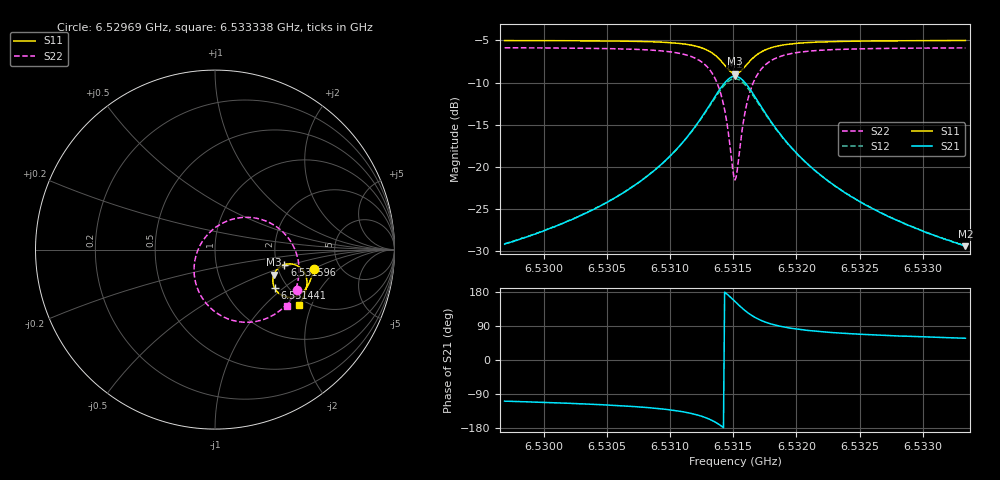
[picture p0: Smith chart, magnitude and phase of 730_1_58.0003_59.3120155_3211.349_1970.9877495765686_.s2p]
#  HZ  S  RI  R  50.00
! Rohde & Schwarz Vector Network Analyzer
! Rohde-Schwarz,ZNB20-2Port,1311601062101988,3.16
! Created: UTC 3/21/2024, 1:23:02 AM
! freq[Hz]  re:S11  im:S11  re:S21  im:S21  re:S12  im:S12  re:S22  im:S22
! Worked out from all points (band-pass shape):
!   401 points, 6.52969 GHz to 6.533338 GHz, reference 50 ohm
!   highest |S21| = -9.26 dB at 6.531514 GHz (marker M1); lowest = -29.4 dB at 6.533338 GHz (marker M2)
!   |S21| within 3 dB of the highest: 6.531331 GHz to 6.531696 GHz (365.6 kHz wide, 0.0056 % of centre)
!   lowest |S11| = -9.0 dB at 6.531514 GHz (marker M3), VSWR 2.11, Z = 92.7 - j29.6 ohm
!   |S11| at or under -10 dB: nowhere
!   |S22| runs from -21.5 to -5.9 dB; largest |S21 - S12| = 0.015
!   S11 on the Smith chart (normalised r, x): 6.52969 GHz: 3.21, -0.99; 6.531441 GHz: 1.72, -0.87; 6.531596 GHz: 2.20, -0.44; 6.533338 GHz: 1.82, -1.64
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6.5296903e9  0.55 -0.1059  -0.0111 -0.0331  -0.0119 -0.0329  0.4559 -0.2243
6.5303012e9  0.5359 -0.1579  -0.0225 -0.0468  -0.0237 -0.0463  0.4187 -0.2821
6.5306477e9  0.522 -0.1914  -0.0374 -0.0612  -0.0392 -0.0602  0.3802 -0.3244
6.5309122e9  0.5027 -0.2216  -0.0624 -0.079  -0.0647 -0.0771  0.3242 -0.3653
6.5311219e9  0.4717 -0.2498  -0.1083 -0.098  -0.1115 -0.094  0.2324 -0.3995
6.531286e9  0.4179 -0.2659  -0.1922 -0.099  -0.1941 -0.0903  0.081 -0.3892
6.5313772e9  0.3669 -0.2519  -0.2702 -0.0581  -0.2672 -0.0461  -0.0451 -0.3042
6.5314137e9  0.345 -0.2333  -0.3018 -0.0202  -0.2954 -0.00808  -0.0902 -0.2344
6.5314411e9  0.3316 -0.213  -0.3198 0.0188  -0.3103 0.0296  -0.1118 -0.1661
6.5314958e9  0.3232 -0.1586  -0.3228 0.116  -0.309 0.1212  -0.0971 -0.00661
6.531514e9  0.3281 -0.1396  -0.3107 0.1488  -0.2969 0.1516  -0.0711 0.0443
6.5315323e9  0.3368 -0.1222  -0.2925 0.1787  -0.279 0.179  -0.0361 0.0894
6.5315687e9  0.3631 -0.0952  -0.2429 0.2234  -0.2318 0.2201  0.053 0.1531
6.5315961e9  0.3865 -0.0838  -0.2007 0.2417  -0.1921 0.2372  0.1256 0.1756
6.5316326e9  0.417 -0.0794  -0.1473 0.2486  -0.1417 0.2437  0.215 0.1775
6.531669e9  0.4428 -0.0835  -0.1029 0.2416  -0.0994 0.2372  0.288 0.1574
6.5317785e9  0.4889 -0.1148  -0.0248 0.1942  -0.0232 0.1921  0.412 0.0594
6.5319152e9  0.5081 -0.1528  0.00947 0.1423  0.0108 0.1415  0.4597 -0.043
6.532125e9  0.5118 -0.1935  0.0224 0.0959  0.0235 0.0954  0.4674 -0.1372
6.5323985e9  0.5054 -0.2292  0.0239 0.0652  0.0249 0.0648  0.4543 -0.2056
6.5327359e9  0.4934 -0.262  0.0218 0.0457  0.0227 0.0453  0.4341 -0.2564
6.5333378e9  0.469 -0.3087  0.0182 0.0286  0.0189 0.0285  0.3987 -0.3137
